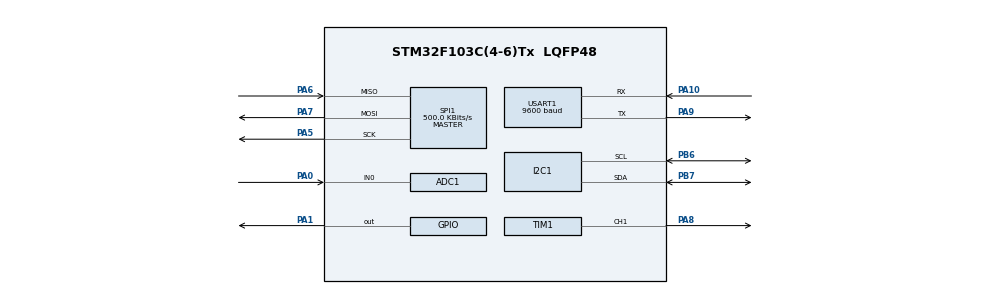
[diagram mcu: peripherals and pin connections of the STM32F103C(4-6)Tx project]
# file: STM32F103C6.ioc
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ADC1.Channel-0\#ChannelRegularConversion=ADC_CHANNEL_0
ADC1.NbrOfConversionFlag=1
ADC1.Rank-0\#ChannelRegularConversion=1
ADC1.SamplingTime-0\#ChannelRegularConversion=ADC_SAMPLETIME_1CYCLE_5
ADC1.master=1
Mcu.Family=STM32F1
Mcu.Name=STM32F103C(4-6)Tx
Mcu.Package=LQFP48
NVIC.PriorityGroup=NVIC_PRIORITYGROUP_4
PA0-WKUP.Signal=ADCx_IN0
PA1.Signal=GPIO_Output
PA10.Mode=Asynchronous
PA10.Signal=USART1_RX
PA5.Mode=Full_Duplex_Master
PA5.Signal=SPI1_SCK
PA6.Mode=Full_Duplex_Master
PA6.Signal=SPI1_MISO
PA7.Mode=Full_Duplex_Master
PA7.Signal=SPI1_MOSI
PA8.Signal=S_TIM1_CH1
PA9.Mode=Asynchronous
PA9.Signal=USART1_TX
PB6.Mode=I2C
PB6.Signal=I2C1_SCL
PB7.Mode=I2C
PB7.Signal=I2C1_SDA
ProjectManager.HeapSize=0x200
ProjectManager.StackSize=0x400
ProjectManager.TargetToolchain=STM32CubeIDE
RCC.AHBFreq_Value=8000000
RCC.APB1Freq_Value=8000000
RCC.APB1TimFreq_Value=8000000
RCC.APB2Freq_Value=8000000
RCC.APB2TimFreq_Value=8000000
RCC.HCLKFreq_Value=8000000
SH.ADCx_IN0.0=ADC1_IN0,IN0
SH.S_TIM1_CH1.0=TIM1_CH1,PWM Generation1 CH1
SPI1.BaudRatePrescaler=SPI_BAUDRATEPRESCALER_16
SPI1.CalculateBaudRate=500.0 KBits/s
SPI1.Direction=SPI_DIRECTION_2LINES
SPI1.Mode=SPI_MODE_MASTER
SPI1.VirtualType=VM_MASTER
TIM1.Channel-PWM\ Generation1\ CH1=TIM_CHANNEL_1
TIM1.ClockDivision=TIM_CLOCKDIVISION_DIV4
TIM1.Prescaler=2000
USART1.BaudRate=9600
USART1.VirtualMode=VM_ASYNC
VP_SYS_VS_ND.Mode=No_Debug
VP_TIM1_VS_ClockSourceINT.Mode=Internal
board=custom

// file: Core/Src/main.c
/* USER CODE BEGIN Header */
/**
  ******************************************************************************
  * @file           : main.c
  * @brief          : Main program body
  ******************************************************************************
  * @attention
  *
  * <h2><center>&copy; Copyright (c) 2020 STMicroelectronics.
  * All rights reserved.</center></h2>
  *
  * This software component is licensed by ST under BSD 3-Clause license,
  * the "License"; You may not use this file except in compliance with the
  * License. You may obtain a copy of the License at:
  *                        opensource.org/licenses/BSD-3-Clause
  *
  ******************************************************************************
  */
/* USER CODE END Header */

#include "main.h"

ADC_HandleTypeDef hadc1;

I2C_HandleTypeDef hi2c1;

SPI_HandleTypeDef hspi1;

TIM_HandleTypeDef htim1;

UART_HandleTypeDef huart1;

/* USER CODE BEGIN PV */
typedef unsigned char byte;

/* USER CODE END PV */

void SystemClock_Config(void);
static void MX_GPIO_Init(void);
static void MX_ADC1_Init(void);
static void MX_USART1_UART_Init(void);
static void MX_I2C1_Init(void);
static void MX_SPI1_Init(void);
static void MX_TIM1_Init(void);
/* USER CODE BEGIN PFP */
#include "PCF8574.h"
/* USER CODE END PFP */

int main(void)
{

  /* MCU Configuration--------------------------------------------------------*/

  /* Reset of all peripherals, Initializes the Flash interface and the Systick. */
  HAL_Init();

  /* USER CODE BEGIN Init */
  __HAL_RCC_GPIOA_CLK_ENABLE();
  __HAL_RCC_GPIOB_CLK_ENABLE();
  __HAL_RCC_AFIO_CLK_ENABLE();
  /* USER CODE END Init */

  /* Configure the system clock */
  SystemClock_Config();

  /* Initialize all configured peripherals */
  MX_GPIO_Init();
  MX_ADC1_Init();
  MX_USART1_UART_Init();
  MX_I2C1_Init();
  MX_SPI1_Init();
  MX_TIM1_Init();
  /* USER CODE BEGIN 2 */

  //SCL, SCA, AF OpenDrain
  GPIO_InitTypeDef GPIO_InitStruct = {0};

    //PIN8 and PIN0 alternative function output....
   GPIO_InitStruct.Pin = GPIO_PIN_6 | GPIO_PIN_7 | GPIO_PIN_8 | GPIO_PIN_9;
   GPIO_InitStruct.Mode = GPIO_MODE_AF_OD;
   GPIO_InitStruct.Speed = GPIO_SPEED_FREQ_LOW;
   GPIO_InitStruct.Pull = GPIO_PULLUP;
   HAL_GPIO_Init(GPIOB, &GPIO_InitStruct);

   //SS PIN
   GPIO_InitStruct.Pin =  GPIO_PIN_15;
   GPIO_InitStruct.Mode = GPIO_MODE_OUTPUT_PP;
   GPIO_InitStruct.Speed = GPIO_SPEED_FREQ_HIGH;
   GPIO_InitStruct.Pull = GPIO_NOPULL;
   HAL_GPIO_Init(GPIOB, &GPIO_InitStruct);

   HAL_GPIO_WritePin(GPIOB, GPIO_PIN_15, GPIO_PIN_SET);

   GPIO_InitStruct.Pin =  GPIO_PIN_5 | GPIO_PIN_7;
   GPIO_InitStruct.Mode = GPIO_MODE_AF_PP;
   GPIO_InitStruct.Speed = GPIO_SPEED_FREQ_HIGH;
   GPIO_InitStruct.Pull = GPIO_NOPULL;
   HAL_GPIO_Init(GPIOA, &GPIO_InitStruct);

   GPIO_InitStruct.Pin =  GPIO_PIN_6;
   GPIO_InitStruct.Mode = GPIO_MODE_AF_INPUT;
   GPIO_InitStruct.Speed = GPIO_SPEED_FREQ_HIGH;
   GPIO_InitStruct.Pull = GPIO_NOPULL;
   HAL_GPIO_Init(GPIOA, &GPIO_InitStruct);

  /* USER CODE END 2 */

  /* Infinite loop */
  /* USER CODE BEGIN WHILE */
  uint32_t adc_value; uint8_t data;
  byte val = 0;
  byte temp = 1;
  byte inf = 15;
  //HAL_TIM_PWM_Start(&htim1,TIM_CHANNEL_1 );
  while (1)
  {
	  HAL_I2C_Master_Transmit(&hi2c1, 0x20<<1, &temp, 1, 100);
	  HAL_GPIO_WritePin(GPIOB, GPIO_PIN_15, GPIO_PIN_RESET);
	  HAL_Delay(3);
	  data = HAL_SPI_Transmit(&hspi1, &inf, 1, 100);
	  HAL_Delay(3);
	  HAL_GPIO_WritePin(GPIOB, GPIO_PIN_15, GPIO_PIN_SET);

	  val = ~val;
	  PCF8574_set_pin(0,  1, val & 0x1);
	  HAL_ADC_Start(&hadc1);
	  HAL_ADC_PollForConversion(&hadc1, 100);
	  adc_value = HAL_ADC_GetValue(&hadc1);
	  //data = (adc_value*5.0)/4095*100;
	  HAL_UART_Transmit(&huart1, &data, 1, 100);
	  HAL_Delay(1000);
    /* USER CODE END WHILE */

  }
}

void SystemClock_Config(void)
{
  RCC_OscInitTypeDef RCC_OscInitStruct = {0};
  RCC_ClkInitTypeDef RCC_ClkInitStruct = {0};
  RCC_PeriphCLKInitTypeDef PeriphClkInit = {0};

  /** Initializes the CPU, AHB and APB busses clocks
  */
  RCC_OscInitStruct.OscillatorType = RCC_OSCILLATORTYPE_HSI;
  RCC_OscInitStruct.HSIState = RCC_HSI_ON;
  RCC_OscInitStruct.HSICalibrationValue = RCC_HSICALIBRATION_DEFAULT;
  RCC_OscInitStruct.PLL.PLLState = RCC_PLL_NONE;
  if (HAL_RCC_OscConfig(&RCC_OscInitStruct) != HAL_OK)
  {
    Error_Handler();
  }
  /** Initializes the CPU, AHB and APB busses clocks
  */
  RCC_ClkInitStruct.ClockType = RCC_CLOCKTYPE_HCLK|RCC_CLOCKTYPE_SYSCLK
                              |RCC_CLOCKTYPE_PCLK1|RCC_CLOCKTYPE_PCLK2;
  RCC_ClkInitStruct.SYSCLKSource = RCC_SYSCLKSOURCE_HSI;
  RCC_ClkInitStruct.AHBCLKDivider = RCC_SYSCLK_DIV1;
  RCC_ClkInitStruct.APB1CLKDivider = RCC_HCLK_DIV1;
  RCC_ClkInitStruct.APB2CLKDivider = RCC_HCLK_DIV1;

  if (HAL_RCC_ClockConfig(&RCC_ClkInitStruct, FLASH_LATENCY_0) != HAL_OK)
  {
    Error_Handler();
  }
  PeriphClkInit.PeriphClockSelection = RCC_PERIPHCLK_ADC;
  PeriphClkInit.AdcClockSelection = RCC_ADCPCLK2_DIV2;
  if (HAL_RCCEx_PeriphCLKConfig(&PeriphClkInit) != HAL_OK)
  {
    Error_Handler();
  }
}

static void MX_ADC1_Init(void)
{

  ADC_ChannelConfTypeDef sConfig = {0};

  /** Common config
  */
  hadc1.Instance = ADC1;
  hadc1.Init.ScanConvMode = ADC_SCAN_DISABLE;
  hadc1.Init.ContinuousConvMode = DISABLE;
  hadc1.Init.DiscontinuousConvMode = DISABLE;
  hadc1.Init.ExternalTrigConv = ADC_SOFTWARE_START;
  hadc1.Init.DataAlign = ADC_DATAALIGN_RIGHT;
  hadc1.Init.NbrOfConversion = 1;
  if (HAL_ADC_Init(&hadc1) != HAL_OK)
  {
    Error_Handler();
  }
  /** Configure Regular Channel
  */
  sConfig.Channel = ADC_CHANNEL_0;
  sConfig.Rank = ADC_REGULAR_RANK_1;
  sConfig.SamplingTime = ADC_SAMPLETIME_1CYCLE_5;
  if (HAL_ADC_ConfigChannel(&hadc1, &sConfig) != HAL_OK)
  {
    Error_Handler();
  }

}

static void MX_I2C1_Init(void)
{

  hi2c1.Instance = I2C1;
  hi2c1.Init.ClockSpeed = 100000;
  hi2c1.Init.DutyCycle = I2C_DUTYCYCLE_2;
  hi2c1.Init.OwnAddress1 = 0;
  hi2c1.Init.AddressingMode = I2C_ADDRESSINGMODE_7BIT;
  hi2c1.Init.DualAddressMode = I2C_DUALADDRESS_DISABLE;
  hi2c1.Init.OwnAddress2 = 0;
  hi2c1.Init.GeneralCallMode = I2C_GENERALCALL_DISABLE;
  hi2c1.Init.NoStretchMode = I2C_NOSTRETCH_DISABLE;
  if (HAL_I2C_Init(&hi2c1) != HAL_OK)
  {
    Error_Handler();
  }

}

static void MX_SPI1_Init(void)
{

  /* SPI1 parameter configuration*/
  hspi1.Instance = SPI1;
  hspi1.Init.Mode = SPI_MODE_MASTER;
  hspi1.Init.Direction = SPI_DIRECTION_2LINES;
  hspi1.Init.DataSize = SPI_DATASIZE_8BIT;
  hspi1.Init.CLKPolarity = SPI_POLARITY_LOW;
  hspi1.Init.CLKPhase = SPI_PHASE_1EDGE;
  hspi1.Init.NSS = SPI_NSS_SOFT;
  hspi1.Init.BaudRatePrescaler = SPI_BAUDRATEPRESCALER_16;
  hspi1.Init.FirstBit = SPI_FIRSTBIT_MSB;
  hspi1.Init.TIMode = SPI_TIMODE_DISABLE;
  hspi1.Init.CRCCalculation = SPI_CRCCALCULATION_DISABLE;
  hspi1.Init.CRCPolynomial = 10;
  if (HAL_SPI_Init(&hspi1) != HAL_OK)
  {
    Error_Handler();
  }

}

static void MX_TIM1_Init(void)
{

  TIM_ClockConfigTypeDef sClockSourceConfig = {0};
  TIM_MasterConfigTypeDef sMasterConfig = {0};
  TIM_OC_InitTypeDef sConfigOC = {0};
  TIM_BreakDeadTimeConfigTypeDef sBreakDeadTimeConfig = {0};

  htim1.Instance = TIM1;
  htim1.Init.Prescaler = 2000;
  htim1.Init.CounterMode = TIM_COUNTERMODE_UP;
  htim1.Init.Period = 0;
  htim1.Init.ClockDivision = TIM_CLOCKDIVISION_DIV4;
  htim1.Init.RepetitionCounter = 0;
  htim1.Init.AutoReloadPreload = TIM_AUTORELOAD_PRELOAD_DISABLE;
  if (HAL_TIM_Base_Init(&htim1) != HAL_OK)
  {
    Error_Handler();
  }
  sClockSourceConfig.ClockSource = TIM_CLOCKSOURCE_INTERNAL;
  if (HAL_TIM_ConfigClockSource(&htim1, &sClockSourceConfig) != HAL_OK)
  {
    Error_Handler();
  }
  if (HAL_TIM_PWM_Init(&htim1) != HAL_OK)
  {
    Error_Handler();
  }
  sMasterConfig.MasterOutputTrigger = TIM_TRGO_RESET;
  sMasterConfig.MasterSlaveMode = TIM_MASTERSLAVEMODE_DISABLE;
  if (HAL_TIMEx_MasterConfigSynchronization(&htim1, &sMasterConfig) != HAL_OK)
  {
    Error_Handler();
  }
  sConfigOC.OCMode = TIM_OCMODE_PWM1;
  sConfigOC.Pulse = 0;
  sConfigOC.OCPolarity = TIM_OCPOLARITY_HIGH;
  sConfigOC.OCNPolarity = TIM_OCNPOLARITY_HIGH;
  sConfigOC.OCFastMode = TIM_OCFAST_DISABLE;
  sConfigOC.OCIdleState = TIM_OCIDLESTATE_RESET;
  sConfigOC.OCNIdleState = TIM_OCNIDLESTATE_RESET;
  if (HAL_TIM_PWM_ConfigChannel(&htim1, &sConfigOC, TIM_CHANNEL_1) != HAL_OK)
  {
    Error_Handler();
  }
  sBreakDeadTimeConfig.OffStateRunMode = TIM_OSSR_DISABLE;
  sBreakDeadTimeConfig.OffStateIDLEMode = TIM_OSSI_DISABLE;
  sBreakDeadTimeConfig.LockLevel = TIM_LOCKLEVEL_OFF;
  sBreakDeadTimeConfig.DeadTime = 0;
  sBreakDeadTimeConfig.BreakState = TIM_BREAK_DISABLE;
  sBreakDeadTimeConfig.BreakPolarity = TIM_BREAKPOLARITY_HIGH;
  sBreakDeadTimeConfig.AutomaticOutput = TIM_AUTOMATICOUTPUT_DISABLE;
  if (HAL_TIMEx_ConfigBreakDeadTime(&htim1, &sBreakDeadTimeConfig) != HAL_OK)
  {
    Error_Handler();
  }
  HAL_TIM_MspPostInit(&htim1);

}

static void MX_USART1_UART_Init(void)
{

  huart1.Instance = USART1;
  huart1.Init.BaudRate = 9600;
  huart1.Init.WordLength = UART_WORDLENGTH_8B;
  huart1.Init.StopBits = UART_STOPBITS_1;
  huart1.Init.Parity = UART_PARITY_NONE;
  huart1.Init.Mode = UART_MODE_TX_RX;
  huart1.Init.HwFlowCtl = UART_HWCONTROL_NONE;
  huart1.Init.OverSampling = UART_OVERSAMPLING_16;
  if (HAL_UART_Init(&huart1) != HAL_OK)
  {
    Error_Handler();
  }

}

static void MX_GPIO_Init(void)
{
  GPIO_InitTypeDef GPIO_InitStruct = {0};

  /* GPIO Ports Clock Enable */
  __HAL_RCC_GPIOA_CLK_ENABLE();
  __HAL_RCC_GPIOB_CLK_ENABLE();

  /*Configure GPIO pin Output Level */
  HAL_GPIO_WritePin(GPIOA, GPIO_PIN_1, GPIO_PIN_RESET);

  /*Configure GPIO pin : PA1 */
  GPIO_InitStruct.Pin = GPIO_PIN_1;
  GPIO_InitStruct.Mode = GPIO_MODE_OUTPUT_PP;
  GPIO_InitStruct.Pull = GPIO_NOPULL;
  GPIO_InitStruct.Speed = GPIO_SPEED_FREQ_LOW;
  HAL_GPIO_Init(GPIOA, &GPIO_InitStruct);

}

void Error_Handler(void)
{
}

/************************ (C) COPYRIGHT STMicroelectronics *****END OF FILE****/
